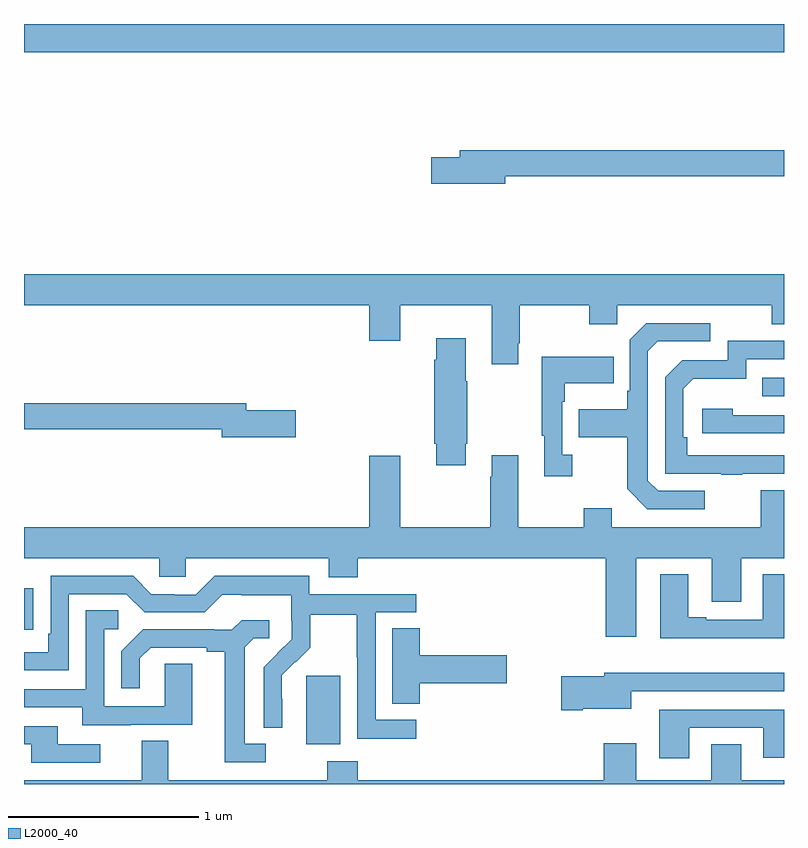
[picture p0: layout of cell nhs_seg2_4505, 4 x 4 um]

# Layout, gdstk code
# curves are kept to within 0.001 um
import gdstk
lib = gdstk.Library(unit=1e-6, precision=1e-09)
def R(c, l, rs):  # rectangles x0, y0, x1, y1
    for r in rs: c.add(gdstk.rectangle(r[:2], r[2:], *l))
def P(c, l, *ps):  # polygons
    for p in ps: c.add(gdstk.Polygon(p, *l))
L2000_40 = (2000, 40)

nhs_seg2_4505 = lib.new_cell('nhs_seg2_4505')
R(nhs_seg2_4505, L2000_40, [(356.486,628.01,356.665,628.371), (355,628.612,355.049,628.831), (358.885,629.841,359,629.937), (355,631.652,359,631.8)])
P(nhs_seg2_4505, L2000_40, [(357.532,631),(359,631),(359,631.136),(357.293,631.136),(357.293,631.1),(357.144,631.1),(357.144,630.958),(357.532,630.958)],
  [(357.601,630.121),(357.609,630.121),(357.609,630.32),(357.976,630.32),(357.976,630.221),(358.122,630.221),(358.122,630.32),(358.936,630.32),(358.936,630.221),(359,630.221),(359,630.484),(355,630.484),(355,630.32),(356.816,630.32),(356.816,630.132),(356.98,630.132),(356.98,630.32),(357.461,630.32),(357.461,630.009),(357.601,630.009)],
  [(358.582,629.343),(358.338,629.343),(358.284,629.397),(358.284,630.078),(358.335,630.129),(358.612,630.129),(358.612,630.225),(358.275,630.225),(358.188,630.138),(358.188,629.869),(358.176,629.869),(358.176,629.773),(357.919,629.773),(357.919,629.626),(358.176,629.626),(358.176,629.353),(358.281,629.247),(358.582,629.247)],
  [(357.325,629.59),(357.333,629.59),(357.333,629.921),(357.325,629.921),(357.325,630.145),(357.17,630.145),(357.17,630.032),(357.158,630.032),(357.158,629.59),(357.17,629.59),(357.17,629.478),(357.325,629.478)],
  [(358.781,629.433),(359,629.433),(359,629.529),(358.49,629.529),(358.49,629.626),(358.47,629.626),(358.47,629.88),(358.523,629.933),(358.8,629.933),(358.8,630.036),(359,630.036),(359,630.132),(358.704,630.132),(358.704,630.03),(358.464,630.03),(358.374,629.94),(358.374,629.433),(358.669,629.433),(358.669,629.428),(358.781,629.428)],
  [(357.886,629.534),(357.834,629.534),(357.834,629.813),(357.847,629.813),(357.847,629.909),(358.103,629.909),(358.103,630.049),(357.726,630.049),(357.726,629.633),(357.737,629.633),(357.737,629.421),(357.886,629.421)],
  [(356.431,629.768),(356.17,629.768),(356.17,629.804),(355,629.804),(355,629.668),(356.042,629.668),(356.042,629.626),(356.431,629.626)],
  [(359,629.742),(358.73,629.742),(358.73,629.776),(358.569,629.776),(358.569,629.646),(359,629.646)],
  [(358.061,628.575),(358.222,628.575),(358.222,628.988),(358.619,628.988),(358.619,628.758),(358.774,628.758),(358.774,628.988),(359,628.988),(359,629.347),(358.877,629.347),(358.877,629.152),(358.093,629.152),(358.093,629.251),(357.946,629.251),(357.946,629.152),(357.601,629.152),(357.601,629.53),(357.461,629.53),(357.461,629.417),(357.454,629.417),(357.454,629.152),(356.98,629.152),(356.98,629.527),(356.816,629.527),(356.816,629.152),(355,629.152),(355,628.988),(355.713,628.988),(355.713,628.89),(355.851,628.89),(355.851,628.988),(356.603,628.988),(356.603,628.889),(356.756,628.889),(356.756,628.988),(358.061,628.988)],
  [(359,628.903),(358.889,628.903),(358.889,628.665),(358.591,628.665),(358.591,628.678),(358.495,628.678),(358.495,628.903),(358.349,628.903),(358.349,628.568),(359,628.568)],
  [(357.064,628.137),(356.85,628.137),(356.85,628.704),(357.064,628.704),(357.064,628.8),(356.502,628.8),(356.502,628.897),(356.005,628.897),(355.905,628.797),(355.79,628.797),(355.79,628.8),(355.671,628.8),(355.575,628.896),(355.14,628.896),(355.14,628.591),(355.127,628.591),(355.127,628.494),(355,628.494),(355,628.398),(355.236,628.398),(355.236,628.8),(355.539,628.8),(355.635,628.704),(355.95,628.704),(356.043,628.797),(356.143,628.797),(356.143,628.793),(356.406,628.793),(356.406,628.659),(356.408,628.659),(356.408,628.562),(356.262,628.414),(356.262,628.096),(356.358,628.096),(356.357,628.373),(356.427,628.443),(356.43,628.44),(356.507,628.517),(356.507,628.692),(356.752,628.692),(356.752,628.468),(356.754,628.468),(356.754,628.039),(357.064,628.039)],
  [(355.561,628.113),(355.885,628.113),(355.885,628.433),(355.74,628.433),(355.74,628.209),(355.422,628.209),(355.422,628.614),(355.495,628.614),(355.495,628.715),(355.326,628.715),(355.326,628.299),(355,628.299),(355,628.203),(355.307,628.203),(355.307,628.109),(355.561,628.109)],
  [(356.272,628.011),(356.161,628.011),(356.161,628.519),(356.208,628.566),(356.29,628.566),(356.29,628.663),(356.146,628.663),(356.094,628.611),(356,628.611),(356,628.614),(355.628,628.614),(355.512,628.498),(355.512,628.305),(355.609,628.305),(355.609,628.461),(355.666,628.518),(355.961,628.518),(355.961,628.496),(356.057,628.496),(356.057,627.915),(356.272,627.915)],
  [(357.083,628.331),(357.541,628.331),(357.541,628.478),(357.083,628.478),(357.083,628.619),(356.939,628.619),(356.939,628.222),(357.083,628.222)],
  [(357.94,628.196),(358.195,628.196),(358.195,628.287),(359,628.287),(359,628.385),(358.055,628.385),(358.055,628.367),(357.828,628.367),(357.828,628.189),(357.94,628.189)],
  [(358.501,628.095),(358.892,628.095),(358.892,627.939),(359,627.939),(359,628.191),(358.343,628.191),(358.343,627.936),(358.501,627.936)],
  [(355.402,628.008),(355.177,628.008),(355.177,628.104),(355,628.104),(355,628.008),(355.037,628.008),(355.037,627.912),(355.402,627.912)],
  [(359,627.82),(358.774,627.82),(358.774,628.01),(358.616,628.01),(358.616,627.82),(358.222,627.82),(358.222,628.015),(358.052,628.015),(358.052,627.82),(356.756,627.82),(356.756,627.919),(356.596,627.919),(356.596,627.82),(355.759,627.82),(355.759,628.028),(355.619,628.028),(355.619,627.82),(355,627.82),(355,627.8),(359,627.8)])

lib.write_gds('nhs_seg2_4505.gds')
